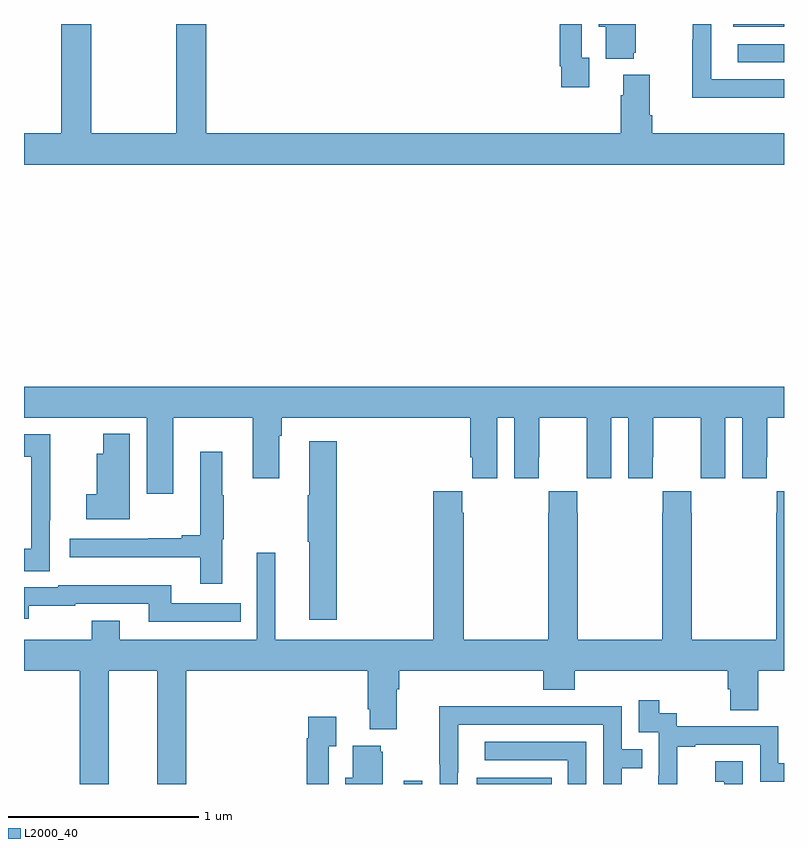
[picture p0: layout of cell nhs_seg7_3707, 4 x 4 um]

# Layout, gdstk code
import gdstk
lib = gdstk.Library(unit=1e-6, precision=1e-09)
def R(c, l, rs):  # rectangles x0, y0, x1, y1
    for r in rs: c.add(gdstk.rectangle(r[:2], r[2:], *l))
def P(c, l, *ps):  # polygons
    for p in ps: c.add(gdstk.Polygon(p, *l))
L2000_40 = (2000, 40)

nhs_seg7_3707 = lib.new_cell('nhs_seg7_3707')
R(nhs_seg7_3707, L2000_40, [(348.999,1020,349.095,1020.016), (349.382,1020,349.778,1020.034), (350.757,1023.798,351,1023.894), (350.732,1023.986,351,1024)])
P(nhs_seg7_3707, L2000_40, [(351,1023.424),(350.306,1023.424),(350.306,1023.52),(350.293,1023.52),(350.293,1023.733),(350.153,1023.733),(350.153,1023.626),(350.141,1023.626),(350.141,1023.424),(347.96,1023.424),(347.96,1024),(347.8,1024),(347.8,1023.424),(347.355,1023.424),(347.355,1024),(347.195,1024),(347.195,1023.424),(347,1023.424),(347,1023.26),(351,1023.26)],
  [(350.21,1023.849),(350.221,1023.849),(350.221,1024),(350.024,1024),(350.024,1023.986),(350.063,1023.986),(350.063,1023.818),(350.21,1023.818)],
  [(350.981,1023.612),(351,1023.612),(351,1023.708),(350.616,1023.708),(350.616,1024),(350.52,1024),(350.52,1023.917),(350.518,1023.917),(350.518,1023.611),(350.981,1023.611)],
  [(349.975,1023.822),(349.935,1023.822),(349.935,1024),(349.819,1024),(349.819,1023.778),(349.827,1023.778),(349.827,1023.666),(349.975,1023.666)],
  [(347.785,1021.928),(348.203,1021.928),(348.203,1021.608),(348.343,1021.608),(348.343,1021.832),(348.356,1021.832),(348.356,1021.928),(349.349,1021.928),(349.349,1021.72),(349.358,1021.72),(349.358,1021.608),(349.492,1021.608),(349.492,1021.928),(349.58,1021.928),(349.58,1021.608),(349.71,1021.608),(349.71,1021.72),(349.711,1021.72),(349.711,1021.928),(349.961,1021.928),(349.961,1021.72),(349.962,1021.72),(349.962,1021.608),(350.092,1021.608),(350.092,1021.928),(350.18,1021.928),(350.18,1021.608),(350.31,1021.608),(350.31,1021.72),(350.311,1021.72),(350.311,1021.928),(350.561,1021.928),(350.561,1021.72),(350.562,1021.72),(350.562,1021.608),(350.692,1021.608),(350.692,1021.928),(350.78,1021.928),(350.78,1021.608),(350.91,1021.608),(350.91,1021.72),(350.911,1021.72),(350.911,1021.928),(351,1021.928),(351,1022.092),(347,1022.092),(347,1021.928),(347.645,1021.928),(347.645,1021.527),(347.785,1021.527)],
  [(347.557,1021.843),(347.417,1021.843),(347.417,1021.738),(347.384,1021.738),(347.384,1021.524),(347.328,1021.524),(347.328,1021.394),(347.557,1021.394)],
  [(347.136,1021.387),(347.139,1021.387),(347.139,1021.84),(347,1021.84),(347,1021.722),(347.039,1021.722),(347.039,1021.239),(347,1021.239),(347,1021.12),(347.136,1021.12)],
  [(348.647,1021.804),(348.5,1021.804),(348.5,1021.52),(348.493,1021.52),(348.493,1021.276),(348.5,1021.276),(348.5,1020.864),(348.647,1020.864)],
  [(348.043,1021.287),(348.051,1021.287),(348.051,1021.52),(348.043,1021.52),(348.043,1021.75),(347.927,1021.75),(347.927,1021.31),(347.831,1021.31),(347.831,1021.293),(347.653,1021.293),(347.653,1021.29),(347.241,1021.29),(347.241,1021.193),(347.927,1021.193),(347.927,1021.053),(348.043,1021.053)],
  [(347.446,1020.596),(347.702,1020.596),(347.702,1020),(347.855,1020),(347.855,1020.596),(348.809,1020.596),(348.809,1020.394),(348.821,1020.394),(348.821,1020.287),(348.961,1020.287),(348.961,1020.5),(348.974,1020.5),(348.974,1020.596),(349.733,1020.596),(349.733,1020.497),(349.898,1020.497),(349.898,1020.596),(350.705,1020.596),(350.705,1020.498),(350.717,1020.498),(350.717,1020.388),(350.865,1020.388),(350.865,1020.596),(351,1020.596),(351,1021.54),(350.961,1021.54),(350.961,1021.427),(350.959,1021.427),(350.959,1020.76),(350.514,1020.76),(350.514,1021.427),(350.511,1021.427),(350.511,1021.54),(350.361,1021.54),(350.361,1021.427),(350.359,1021.427),(350.359,1020.76),(349.914,1020.76),(349.914,1021.427),(349.911,1021.427),(349.911,1021.54),(349.761,1021.54),(349.761,1021.427),(349.759,1021.427),(349.759,1020.76),(349.314,1020.76),(349.314,1021.427),(349.307,1021.427),(349.307,1021.54),(349.154,1021.54),(349.154,1020.76),(348.322,1020.76),(348.322,1021.216),(348.225,1021.216),(348.225,1020.76),(347.503,1020.76),(347.503,1020.859),(347.356,1020.859),(347.356,1020.76),(347,1020.76),(347,1020.596),(347.294,1020.596),(347.294,1020),(347.446,1020)],
  [(348.14,1020.951),(347.776,1020.951),(347.776,1021.045),(347.181,1021.045),(347.181,1021.035),(347,1021.035),(347,1020.869),(347.025,1020.869),(347.025,1020.938),(347.271,1020.938),(347.271,1020.948),(347.657,1020.948),(347.657,1020.855),(348.14,1020.855)],
  [(350.438,1020.195),(350.533,1020.195),(350.533,1020.207),(350.874,1020.207),(350.874,1020.012),(351,1020.012),(351,1020.108),(350.97,1020.108),(350.97,1020.303),(350.436,1020.303),(350.436,1020.372),(350.344,1020.372),(350.344,1020.442),(350.235,1020.442),(350.235,1020.273),(350.34,1020.273),(350.34,1020.044),(350.339,1020.044),(350.339,1020),(350.438,1020)],
  [(349.284,1020.058),(349.285,1020.058),(349.285,1020.312),(350.049,1020.312),(350.049,1020),(350.145,1020),(350.145,1020.082),(350.255,1020.082),(350.255,1020.183),(350.145,1020.183),(350.145,1020.408),(349.649,1020.408),(349.649,1020.41),(349.186,1020.41),(349.186,1020.103),(349.188,1020.103),(349.188,1020),(349.284,1020)],
  [(348.603,1020.199),(348.643,1020.199),(348.643,1020.355),(348.495,1020.355),(348.495,1020.242),(348.487,1020.242),(348.487,1020),(348.603,1020)],
  [(349.959,1020.222),(349.425,1020.222),(349.425,1020.126),(349.863,1020.126),(349.863,1020),(349.959,1020)],
  [(348.889,1020.171),(348.878,1020.171),(348.878,1020.202),(348.731,1020.202),(348.731,1020.034),(348.692,1020.034),(348.692,1020),(348.889,1020)],
  [(350.784,1020.121),(350.637,1020.121),(350.637,1020.011),(350.686,1020.011),(350.686,1020),(350.784,1020)])

lib.write_gds('nhs_seg7_3707.gds')
